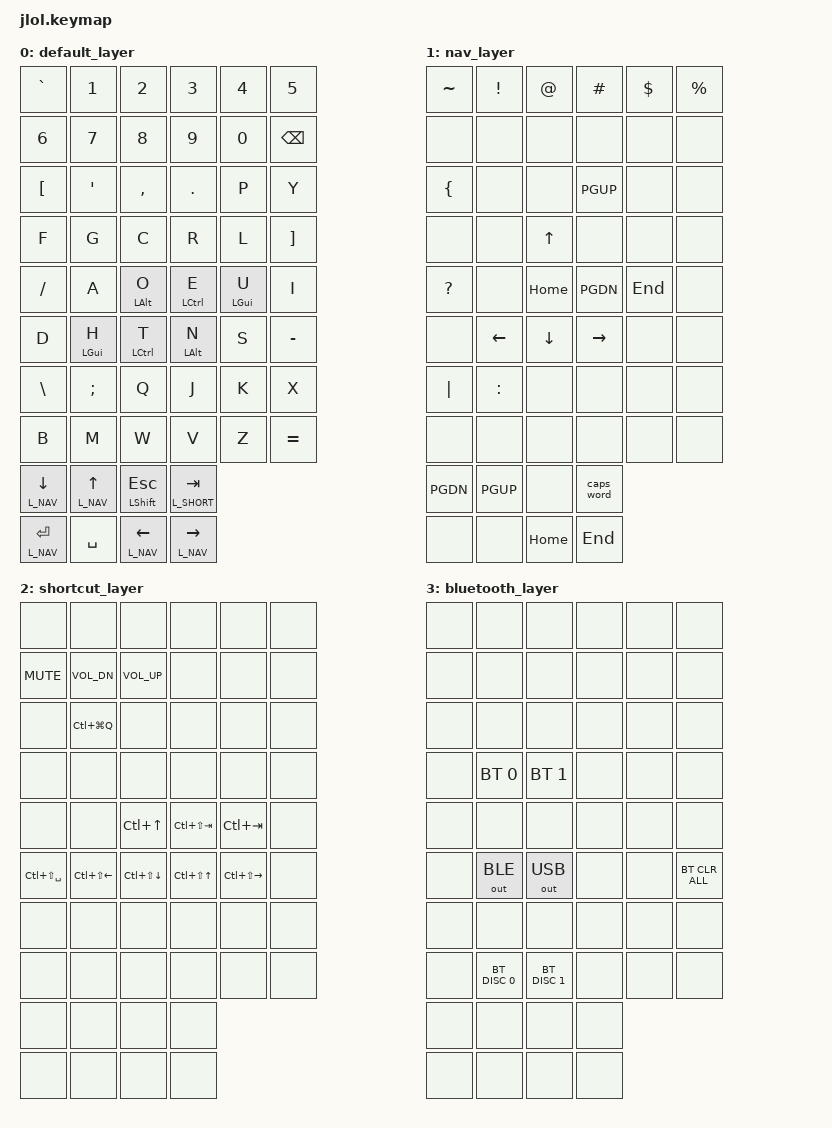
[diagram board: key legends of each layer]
#include <behaviors.dtsi>
#include <dt-bindings/zmk/bt.h>
#include <dt-bindings/zmk/keys.h>
#include <dt-bindings/zmk/outputs.h>

#define L_DEFAULT 0
#define L_NAV     1
#define L_SHORT   2
#define L_BT      3

//------------------------------------------------------------------------------
// Defaults
//------------------------------------------------------------------------------

&lt {
  tapping-term-ms = <150>;
  flavor = "hold-preferred";
  quick-tap-ms = <300>;
};

&mt {
  quick-tap-ms = <300>;
};

/ {

//------------------------------------------------------------------------------
// Behaviors
//------------------------------------------------------------------------------

  behaviors {

    mtb: balanced_mod_tap {
      compatible = "zmk,behavior-hold-tap";
      #binding-cells = <2>;
      flavor = "balanced";
      tapping-term-ms = <250>;
      quick-tap-ms = <300>;
      require-prior-idle-ms = <125>;
      bindings = <&kp>, <&kp>;
      display-name = "Balanced-Mod-Tap";
    };
  };

  //----------------------------------------------------------------------------
  // Combos
  //----------------------------------------------------------------------------

  combos {
    compatible = "zmk,combos";

    combo_delete {
      timeout-ms = <50>;
      layers = <L_DEFAULT>;
      key-positions = <10 11>;
      bindings = <&kp DEL>;
    };

    combo_bootloader {
      timeout-ms = <50>;
      layers = <L_DEFAULT>;
      key-positions = <48 49 54 55>;
      bindings = <&bootloader>;
    };

    combo_globe {
      timeout-ms = <50>;
      layers = <L_DEFAULT>;
      key-positions = <36 37>;
      bindings = <&kp GLOBE>;
    };

    combo_bt_layer {
      timeout-ms = <50>;
      layers = <L_DEFAULT>;
      key-positions = <0 1>;
      bindings = <&mo L_BT >;
    };
  };

  //----------------------------------------------------------------------------
  // Keymap
  //----------------------------------------------------------------------------

  keymap {
    compatible = "zmk,keymap";

    default_layer {
      bindings = <
        &kp GRAVE &kp N1 &kp N2 &kp N3 &kp N4 &kp N5
        &kp N6 &kp N7 &kp N8 &kp N9 &kp N0 &kp BSPC

        &kp LBKT &kp SQT &kp COMMA &kp DOT &kp P &kp Y
        &kp F &kp G &kp C &kp R &kp L &kp RBKT

        &kp FSLH &kp A &mtb LALT O &mtb LCTRL E &mtb LGUI U &kp I
        &kp D &mtb LGUI H &mtb LCTRL T &mtb LALT N &kp S &kp MINUS

        &kp BSLH &kp SEMI &kp Q &kp J &kp K &kp X
        &kp B &kp M &kp W &kp V &kp Z &kp EQUAL

        &lt L_NAV DOWN &lt L_NAV UP &mt LSHIFT ESC &lt L_SHORT TAB
        &lt L_NAV ENTER &kp SPACE &lt L_NAV LEFT &lt L_NAV RIGHT
      >;
    };

    nav_layer {
      bindings = <
        &kp TILDE &kp EXCL &kp AT &kp HASH &kp DLLR &kp PRCNT
        &none &none &none &none &none &none

        &kp LBRC &none &none &kp PGUP &none &none
        &none &none &kp UP &none &none &none

        &kp QMARK &none &kp HOME &kp PGDN &kp END &none
        &none &kp LEFT &kp DOWN &kp RIGHT &none &none 

        &kp PIPE &kp COLON &none &none &none &none
        &none &none &none &none &none &none

        &kp PGDN &kp PGUP &none &caps_word
        &none &none &kp HOME &kp END
      >;
    };

    shortcut_layer {
      bindings = <
        &none &none &none &none &none &none
        &kp K_MUTE &kp K_VOL_DN &kp K_VOL_UP &none &none &none

        &none &kp LC(LG(Q)) &none &none &none &none
        &none &none &none &none &none &none

        &none &none &kp LC(UP) &kp LC(LS(TAB)) &kp LC(TAB) &none
        &kp LC(LS(SPACE)) &kp LC(LS(LEFT)) &kp LC(LS(DOWN)) &kp LC(LS(UP)) &kp LC(LS(RIGHT)) &none 

        &none &none &none &none &none &none
        &none &none &none &none &none &none

        &none &none &none &none
        &none &none &none &none
      >;
    };

    bluetooth_layer {
      bindings = <
        &none &none &none &none &none &none
        &none &none &none &none &none &none

        &none &none &none &none &none &none
        &none &bt BT_SEL 0 &bt BT_SEL 1 &none &none &none

        &none &none &none &none &none &none
        &none &out OUT_BLE &out OUT_USB &none &none &bt BT_CLR_ALL

        &none &none &none &none &none &none
        &none &bt BT_DISC 0 &bt BT_DISC 1 &none &none &none

        &none &none &none &none
        &none &none &none &none
      >;
    };
  };
};
